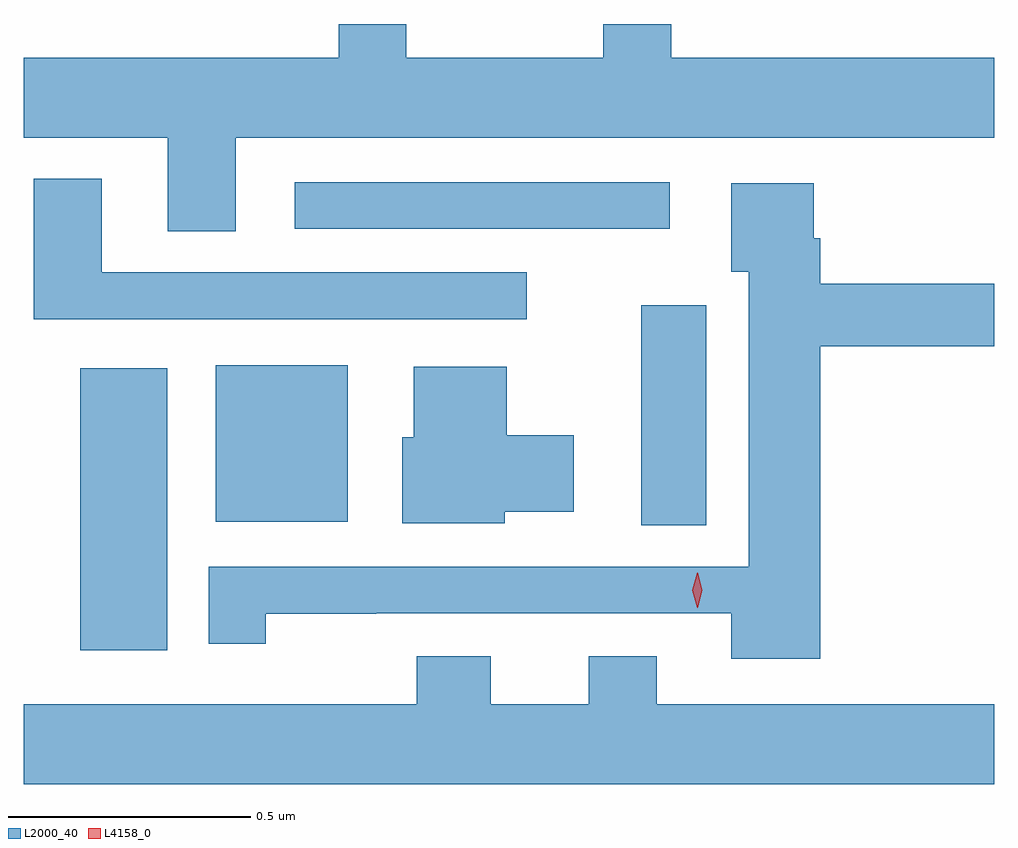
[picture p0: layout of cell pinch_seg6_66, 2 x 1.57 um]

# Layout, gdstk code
import gdstk
lib = gdstk.Library(unit=1e-6, precision=1e-09)
def R(c, l, rs):  # rectangles x0, y0, x1, y1
    for r in rs: c.add(gdstk.rectangle(r[:2], r[2:], *l))
def P(c, l, *ps):  # polygons
    for p in ps: c.add(gdstk.Polygon(p, *l))
L2000_40 = (2000, 40)
L4158_0 = (4158, 0)

pinch_seg6_66 = lib.new_cell('pinch_seg6_66')
R(pinch_seg6_66, L2000_40, [(938.309,951.608,938.488,952.189), (939.464,951.865,939.598,952.318), (938.588,951.872,938.86,952.195), (938.751,952.476,939.523,952.572)])
P(pinch_seg6_66, L2000_40, [(938.629,952.664),(940.192,952.664),(940.192,952.828),(939.526,952.828),(939.526,952.898),(939.386,952.898),(939.386,952.828),(938.98,952.828),(938.98,952.898),(938.841,952.898),(938.841,952.828),(938.192,952.828),(938.192,952.664),(938.489,952.664),(938.489,952.471),(938.629,952.471)],
  [(939.229,952.386),(938.353,952.386),(938.353,952.579),(938.213,952.579),(938.213,952.29),(939.229,952.29)],
  [(939.833,952.234),(940.192,952.234),(940.192,952.363),(939.833,952.363),(939.833,952.457),(939.82,952.457),(939.82,952.57),(939.65,952.57),(939.65,952.388),(939.686,952.388),(939.686,951.78),(938.573,951.78),(938.573,951.621),(938.691,951.621),(938.691,951.683),(938.918,951.683),(938.918,951.684),(939.65,951.684),(939.65,951.59),(939.833,951.59)],
  [(939.183,951.893),(939.325,951.893),(939.325,952.051),(939.187,952.051),(939.187,952.192),(938.996,952.192),(938.996,952.047),(938.972,952.047),(938.972,951.869),(939.183,951.869)],
  [(940.192,951.496),(939.496,951.496),(939.496,951.595),(939.356,951.595),(939.356,951.496),(939.154,951.496),(939.154,951.595),(939.002,951.595),(939.002,951.496),(938.192,951.496),(938.192,951.332),(940.192,951.332)])
P(pinch_seg6_66, L4158_0, [(939.58,951.695),(939.58,951.695),(939.57,951.731),(939.58,951.767),(939.58,951.767),(939.581,951.767),(939.59,951.731),(939.581,951.695)])

lib.write_gds('pinch_seg6_66.gds')
